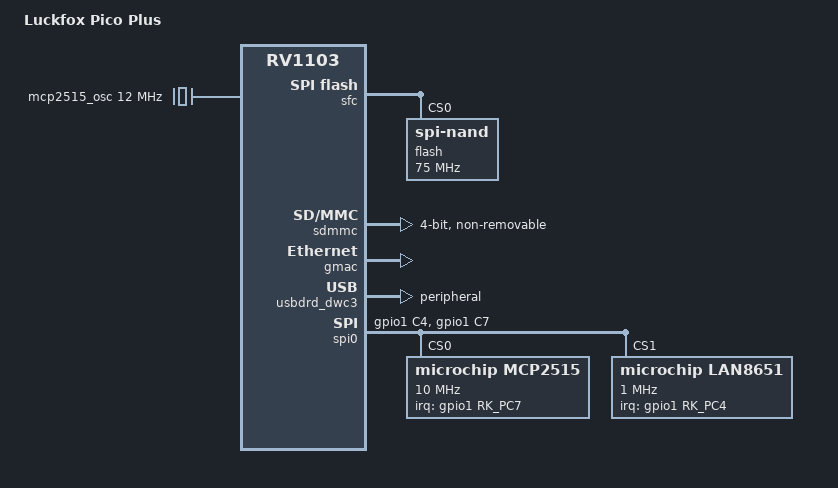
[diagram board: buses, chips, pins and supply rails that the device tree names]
// SPDX-License-Identifier: (GPL-2.0+ OR MIT)
/*
 * Copyright (c) 2022 Rockchip Electronics Co., Ltd.
 */

/dts-v1/;

#include "rv1103.dtsi"
#include "rv1106-evb.dtsi"
#include "rv1103-luckfox-pico-ipc.dtsi"

/ {
	model = "Luckfox Pico Plus";
	compatible = "rockchip,rv1103g-38x38-ipc-v10", "rockchip,rv1103";

	mcp2515_osc: mcp2515-osc {
		compatible = "fixed-clock";
		#clock-cells = <0>;
		clock-frequency = <12000000>;
	};
};

&pinctrl {
	lan8651 {
		lan8651_int_pin: lan8651-int-pin {
			rockchip,pins = <1 RK_PC4 RK_FUNC_GPIO &pcfg_pull_up>;
		};
	};

	mcp2515 {
		mcp2515_int_pin: mcp2515-int-pin {
			rockchip,pins = <1 RK_PC7 RK_FUNC_GPIO &pcfg_pull_up>;
		};
	};
};

/**********SFC**********/
&sfc {
	status = "okay";
	flash@0 {
		compatible = "spi-nand";
		reg = <0>;
		spi-max-frequency = <75000000>;
		spi-rx-bus-width = <4>;
		spi-tx-bus-width = <1>;
	};
};

/**********SDMMC**********/
&sdmmc {
	max-frequency = <50000000>;
	no-mmc;
	bus-width = <4>;
	cap-mmc-highspeed;
	cap-sd-highspeed;
	disable-wp;
	
	//sdio
	cap-sdio-irq;
	non-removable;	
	no-1-8-v;
	supports-sdio;

	pinctrl-names = "default";
	pinctrl-0 = <&sdmmc0_clk &sdmmc0_cmd &sdmmc0_det &sdmmc0_bus4>;
	status = "okay";
};

/**********ETH**********/
&gmac {
	status = "okay";
};

/**********USB**********/
&usbdrd_dwc3 {
	status = "okay";
	dr_mode = "peripheral";
};

/**********SPI**********/
/* SPI0_M0 */
&spi0 {
	status = "okay";
	num-cs = <2>;
	pinctrl-names = "default";
	pinctrl-0 = <&spi0m0_clk &spi0m0_miso &spi0m0_mosi &spi0m0_cs0
			     &spi0m0_cs1 &lan8651_int_pin &mcp2515_int_pin>;
	/delete-node/ spidev@0;
	/delete-node/ fbtft@0;

	mcp2515: can@0 {
		compatible = "microchip,mcp2515";
		reg = <0>;
		spi-max-frequency = <10000000>;
		clocks = <&mcp2515_osc>;
		interrupt-parent = <&gpio1>;
		interrupts = <RK_PC7 IRQ_TYPE_EDGE_FALLING>;
		status = "okay";
	};

	lan8651: ethernet@1 {
		compatible = "microchip,lan8651";
		reg = <1>;
		spi-max-frequency = <1000000>;
		microchip,plca-enable;
		microchip,plca-node-id = <0>;
		microchip,plca-node-count = <8>;
		interrupt-parent = <&gpio1>;
		interrupts = <RK_PC4 IRQ_TYPE_EDGE_FALLING>;
		status = "okay";
	};
};

/**********I2C**********/
/* I2C3_M1 */
&i2c3 {
	status = "disabled";
	clock-frequency = <100000>;
};

/* I2C0_M2 */
&i2c0 {
	status = "disabled";
	clock-frequency = <100000>;
};

/**********UART**********/
/* UART3_M1 */
&uart3 {
	status = "disabled";
};

/* UART4_M1 */
&uart4 {
	status = "disabled";
};

/**********PWM**********/
/* PWM1_M0 */
&pwm1 {
	status = "disabled";
};

